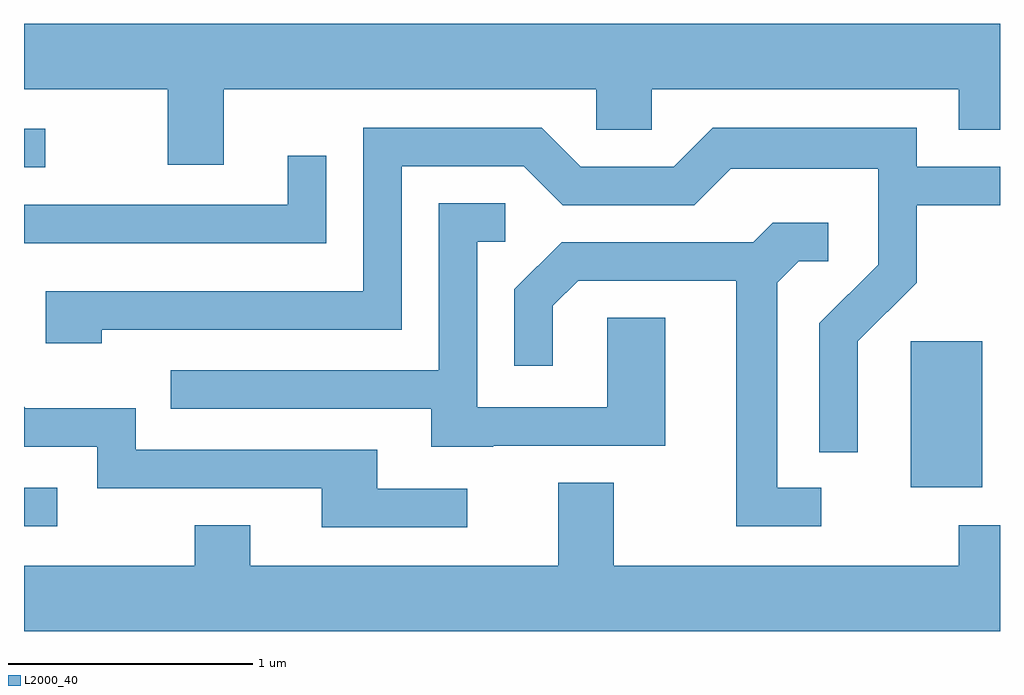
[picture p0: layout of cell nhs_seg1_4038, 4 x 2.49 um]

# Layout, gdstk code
import gdstk
lib = gdstk.Library(unit=1e-6, precision=1e-09)
def R(c, l, rs):  # rectangles x0, y0, x1, y1
    for r in rs: c.add(gdstk.rectangle(r[:2], r[2:], *l))
def P(c, l, *ps):  # polygons
    for p in ps: c.add(gdstk.Polygon(p, *l))
L2000_40 = (2000, 40)

nhs_seg1_4038 = lib.new_cell('nhs_seg1_4038')
R(nhs_seg1_4038, L2000_40, [(305.611,966.606,305.748,966.764), (309.246,966.766,309.539,967.364), (305.611,968.076,305.698,968.234)])
P(nhs_seg1_4038, L2000_40, [(306.429,968.396),(307.956,968.396),(307.956,968.231),(308.184,968.231),(308.184,968.396),(309.441,968.396),(309.441,968.231),(309.611,968.231),(309.611,968.664),(305.611,968.664),(305.611,968.396),(306.201,968.396),(306.201,968.086),(306.429,968.086)],
  [(309.029,967.364),(309.269,967.604),(309.269,967.921),(309.611,967.921),(309.611,968.079),(309.269,968.079),(309.269,968.239),(308.434,968.239),(308.274,968.079),(307.892,968.079),(307.732,968.239),(307.001,968.239),(307.001,967.569),(305.701,967.569),(305.701,967.356),(305.929,967.356),(305.929,967.411),(307.159,967.411),(307.159,968.081),(307.659,968.081),(307.819,967.921),(308.357,967.921),(308.507,968.071),(309.111,968.071),(309.111,967.677),(308.871,967.437),(308.871,966.908),(309.029,966.908)],
  [(306.849,968.123),(306.691,968.123),(306.691,967.924),(305.611,967.924),(305.611,967.766),(306.849,967.766)],
  [(307.535,966.936),(308.239,966.936),(308.239,967.459),(308.001,967.459),(308.001,967.094),(307.469,967.094),(307.469,967.771),(307.583,967.771),(307.583,967.929),(307.311,967.929),(307.311,967.244),(306.213,967.244),(306.213,967.086),(307.281,967.086),(307.281,966.931),(307.535,966.931)],
  [(308.878,966.764),(308.699,966.764),(308.699,967.604),(308.787,967.691),(308.908,967.691),(308.908,967.849),(308.679,967.849),(308.599,967.769),(307.814,967.769),(307.621,967.577),(307.621,967.263),(307.779,967.263),(307.779,967.509),(307.882,967.611),(308.531,967.611),(308.531,966.606),(308.878,966.606)],
  [(307.428,966.759),(307.059,966.759),(307.059,966.919),(306.069,966.919),(306.069,967.089),(305.617,967.089),(305.611,967.095),(305.611,966.931),(305.911,966.931),(305.911,966.761),(306.831,966.761),(306.831,966.601),(307.428,966.601)],
  [(309.611,966.609),(309.441,966.609),(309.441,966.444),(308.029,966.444),(308.029,966.784),(307.801,966.784),(307.801,966.444),(306.539,966.444),(306.539,966.609),(306.311,966.609),(306.311,966.444),(305.611,966.444),(305.611,966.176),(309.611,966.176)])

lib.write_gds('nhs_seg1_4038.gds')
